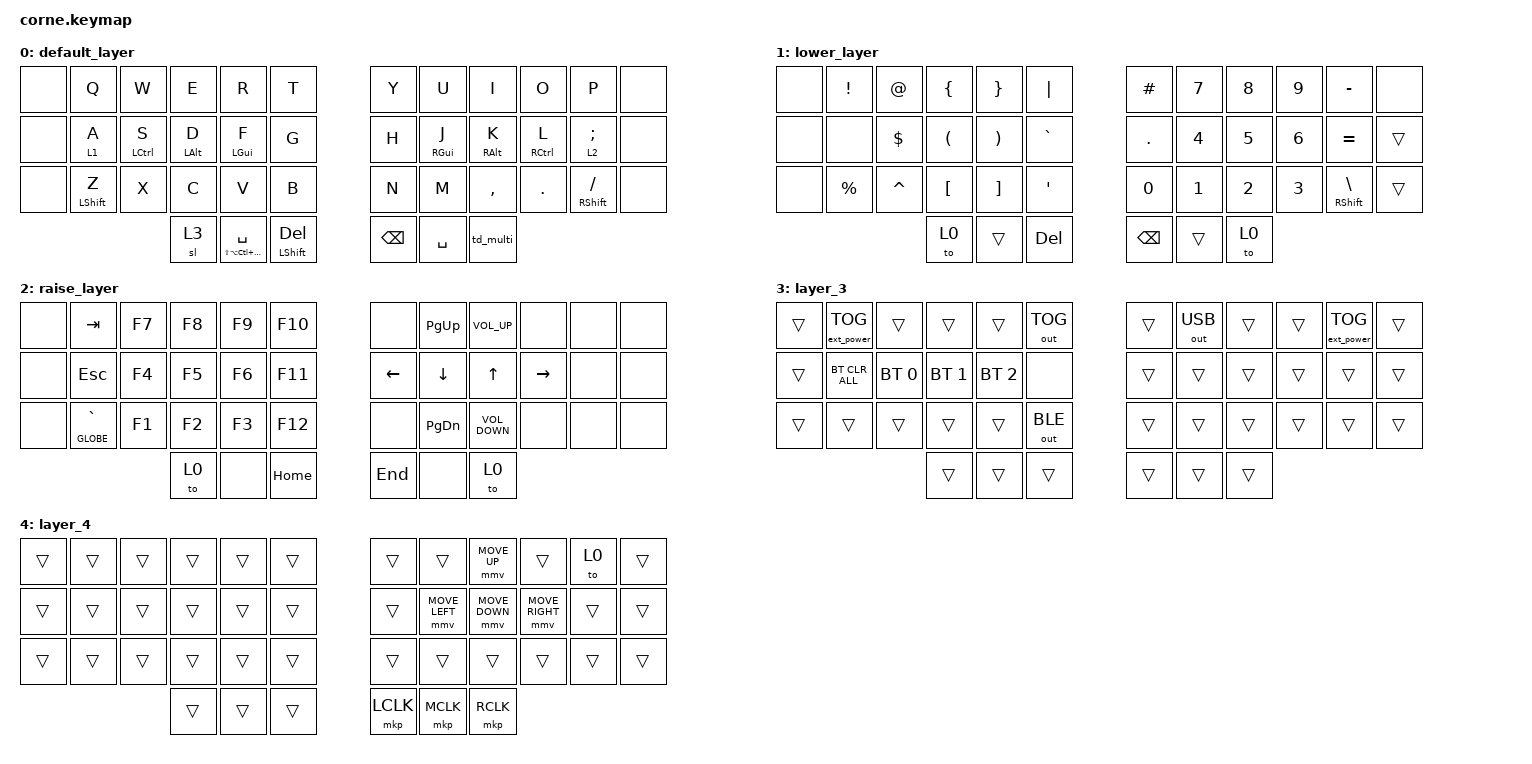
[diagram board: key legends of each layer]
/*
 * Copyright (c) 2020 The ZMK Contributors
 *
 * SPDX-License-Identifier: MIT
 */

#include <behaviors.dtsi>
#include <dt-bindings/zmk/bt.h>
#include <dt-bindings/zmk/ext_power.h>
#include <dt-bindings/zmk/keys.h>
#include <dt-bindings/zmk/outputs.h>
#define ZMK_POINTING_DEFAULT_MOVE_VAL 1500
#include <dt-bindings/zmk/pointing.h>

&lt { flavor = "hold-preferred"; };

&mt { flavor = "tap-preferred"; };

&mmv {
    time-to-max-speed-ms = <300>;
    acceleration-exponent = <1>;
};

&msc {
    time-to-max-speed-ms = <300>;
    acceleration-exponent = <1>;
};

/ {
    behaviors {
        Shift_MT: Shift_MT {
            compatible = "zmk,behavior-hold-tap";
            label = "SHIFT_MT";
            bindings = <&kp>, <&kp>;

            #binding-cells = <2>;
            tapping-term-ms = <200>;
        };

        lt_ent_l2: lt_ent_l2 {
            compatible = "zmk,behavior-hold-tap";
            label = "LT_ENT_L2";
            bindings = <&none>, <&none>;

            #binding-cells = <2>;
            tapping-term-ms = <200>;
            flavor = "tap-preferred";
        };

        td_multi: td_multi {
            compatible = "zmk,behavior-tap-dance";
            label = "TD_MULTI";
            #binding-cells = <0>;
            bindings = <&lt 2 RET>, <&to 4>;

            tapping-term-ms = <250>;
        };
    };

    keymap {
        compatible = "zmk,keymap";

        default_layer {
            // -----------------------------------------------------------------------------------------
            // |  TAB |  Q  |  W  |  E  |  R  |  T  |   |  Y  |  U   |  I  |  O  |  P  | BSPC |
            // | CTRL |  A  |  S  |  D  |  F  |  G  |   |  H  |  J   |  K  |  L  |  ;  |  '   |
            // | SHFT |  Z  |  X  |  C  |  V  |  B  |   |  N  |  M   |  ,  |  .  |  /  | ESC  |
            //                    | GUI | LWR | SPC |   | ENT | RSE  | ALT |

            bindings = <
&none  &kp Q                   &kp W               &kp E           &kp R                                   &kp T                          &kp Y          &kp U            &kp I            &kp O                &kp P                        &none
&none  &lt 1 A                 &mt LEFT_CONTROL S  &mt LEFT_ALT D  &mt LEFT_GUI F                          &kp G                          &kp H          &mt RIGHT_GUI J  &mt RIGHT_ALT K  &mt RIGHT_CONTROL L  &lt 2 SEMICOLON              &none
&none  &Shift_MT LEFT_SHIFT Z  &kp X               &kp C           &kp V                                   &kp B                          &kp N          &kp M            &kp COMMA        &kp PERIOD           &Shift_MT RIGHT_SHIFT SLASH  &none
                                                   &sl 3           &mt LS(LA(LC(LG(LEFT_COMMAND)))) SPACE  &Shift_MT LEFT_SHIFT DELETE    &kp BACKSPACE  &kp SPACE        &td_multi
            >;
        };

        lower_layer {
            // -----------------------------------------------------------------------------------------
            // |  TAB |  1  |  2  |  3  |  4  |  5  |   |  6  |  7  |  8  |  9  |  0  | BSPC |
            // | BTCLR| BT1 | BT2 | BT3 | BT4 | BT5 |   | LFT | DWN |  UP | RGT |     |      |
            // | SHFT |     |     |     |     |     |   |     |     |     |     |     |      |
            //                    | GUI |     | SPC |   | ENT |     | ALT |

            bindings = <
&none  &kp EXCLAMATION  &kp AT_SIGN  &kp LEFT_BRACE        &kp RIGHT_BRACE        &kp PIPE            &kp HASH       &kp N7        &kp N8        &kp N9        &kp MINUS                        &none
&none  &none            &kp DOLLAR   &kp LEFT_PARENTHESIS  &kp RIGHT_PARENTHESIS  &kp GRAVE           &kp PERIOD     &kp NUMBER_4  &kp NUMBER_5  &kp NUMBER_6  &kp EQUAL                        &trans
&none  &kp PERCENT      &kp CARET    &kp LEFT_BRACKET      &kp RIGHT_BRACKET      &kp SINGLE_QUOTE    &kp NUMBER_0   &kp NUMBER_1  &kp NUMBER_2  &kp NUMBER_3  &Shift_MT RIGHT_SHIFT BACKSLASH  &trans
                                     &to 0                 &trans                 &kp DELETE          &kp BACKSPACE  &trans        &to 0
            >;
        };

        raise_layer {
            // -----------------------------------------------------------------------------------------
            // |  TAB |  !  |  @  |  #  |  $  |  %  |   |  ^  |  &  |  *  |  (  |  )  | BSPC |
            // | CTRL |     |     |     |     |     |   |  -  |  =  |  [  |  ]  |  \  |  `   |
            // | SHFT |     |     |     |     |     |   |  _  |  +  |  {  |  }  | "|" |  ~   |
            //                    | GUI |     | SPC |   | ENT |     | ALT |

            bindings = <
&none  &kp TAB          &kp F7  &kp F8  &kp F9  &kp F10     &none           &kp PAGE_UP     &kp C_VOLUME_UP    &none            &none  &none
&none  &kp ESC          &kp F4  &kp F5  &kp F6  &kp F11     &kp LEFT_ARROW  &kp DOWN_ARROW  &kp UP_ARROW       &kp RIGHT_ARROW  &none  &none
&none  &mt GLOBE GRAVE  &kp F1  &kp F2  &kp F3  &kp F12     &none           &kp PAGE_DOWN   &kp C_VOLUME_DOWN  &none            &none  &none
                                &to 0   &none   &kp HOME    &kp END         &none           &to 0
            >;
        };

        layer_3 {
            bindings = <
&trans  &ext_power EP_TOG  &trans        &trans        &trans        &out OUT_TOG    &trans  &out OUT_USB  &trans  &trans  &ext_power EP_TOG  &trans
&trans  &bt BT_CLR_ALL     &bt BT_SEL 0  &bt BT_SEL 1  &bt BT_SEL 2  &none           &trans  &trans        &trans  &trans  &trans             &trans
&trans  &trans             &trans        &trans        &trans        &out OUT_BLE    &trans  &trans        &trans  &trans  &trans             &trans
                                         &trans        &trans        &trans          &trans  &trans        &trans
            >;
        };

        layer_4 {
            bindings = <
&trans  &trans  &trans  &trans  &trans  &trans    &trans     &trans          &mmv MOVE_UP    &trans           &to 0   &trans
&trans  &trans  &trans  &trans  &trans  &trans    &trans     &mmv MOVE_LEFT  &mmv MOVE_DOWN  &mmv MOVE_RIGHT  &trans  &trans
&trans  &trans  &trans  &trans  &trans  &trans    &trans     &trans          &trans          &trans           &trans  &trans
                        &trans  &trans  &trans    &mkp LCLK  &mkp MCLK       &mkp RCLK
            >;
        };
    };
};
